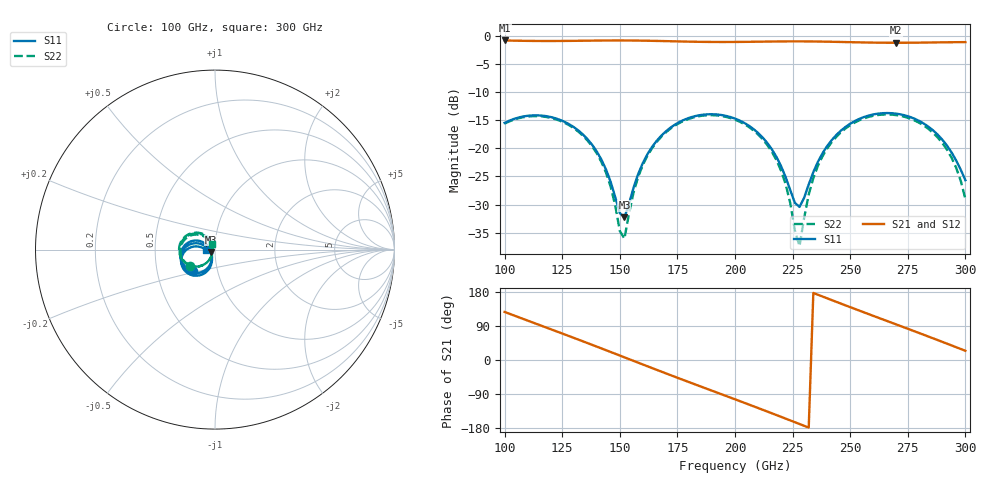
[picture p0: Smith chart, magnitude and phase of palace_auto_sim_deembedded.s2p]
! Created with skrf 1.11.0 (http://scikit-rf.org).
# GHz S DB R 50.0
!freq dBS11 angS11 dBS21 angS21 dBS12 angS12 dBS22 angS22
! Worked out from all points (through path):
!   101 points, 100 GHz to 300 GHz, reference 50 ohm
!   highest |S21| = -0.80 dB at 100 GHz (marker M1); lowest = -1.2 dB at 270 GHz (marker M2)
!   group delay of S21, straight-line fit = 6.43 ps
!   lowest |S11| = -32.3 dB at 152 GHz (marker M3), VSWR 1.05, Z = 47.9 - j1.19 ohm
!   |S11| at or under -10 dB: start of sweep to end of sweep
!   |S22| runs from -37.4 to -14.0 dB; largest |S21 - S12| = 1.5e-13
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100  -15.48 -135.7  -0.80 126.8  -0.80 126.8  -15.60 -147.7
116  -14.17 -167.7  -0.89 90.4  -0.89 90.4  -14.31 177.6
134  -17.54 158.3  -0.85 49.2  -0.85 49.2  -17.76 139.4
144  -23.76 148.0  -0.81 25.9  -0.81 25.9  -24.31 123.8
150  -31.53 177.3  -0.80 11.8  -0.80 11.8  -34.70 149.0
152  -32.28 -149.2  -0.80 7.0  -0.80 7.0  -36.08 -158.9
158  -24.54 -107.7  -0.82 -7.1  -0.82 -7.1  -25.04 -118.3
168  -17.75 -116.2  -0.90 -30.6  -0.90 -30.6  -17.94 -133.0
184  -14.15 -145.5  -1.04 -67.4  -1.04 -67.4  -14.31 -166.8
200  -14.71 -176.0  -1.06 -103.7  -1.06 -103.7  -14.90 158.5
210  -17.26 166.8  -1.02 -126.7  -1.02 -126.7  -17.53 137.4
218  -21.54 158.3  -0.98 -145.3  -0.98 -145.3  -22.11 122.9
222  -25.15 161.6  -0.97 -154.7  -0.97 -154.7  -26.41 119.9
228  -30.43 -147.0  -0.96 -168.9  -0.96 -168.9  -37.41 -165.1
234  -24.23 -105.8  -0.98 176.9  -0.98 176.9  -25.28 -117.9
240  -19.60 -105.9  -1.02 162.8  -1.02 162.8  -20.03 -125.5
248  -16.18 -117.0  -1.09 144.1  -1.09 144.1  -16.46 -141.4
268  -13.74 -153.0  -1.21 98.4  -1.21 98.4  -14.00 175.2
270  -13.83 -156.6  -1.21 93.8  -1.21 93.8  -14.09 170.9
290  -18.47 171.8  -1.13 47.8  -1.13 47.8  -19.06 128.1
296  -22.16 170.4  -1.11 33.8  -1.11 33.8  -23.47 117.9
300  -25.66 -179.4  -1.10 24.3  -1.10 24.3  -29.02 117.0
